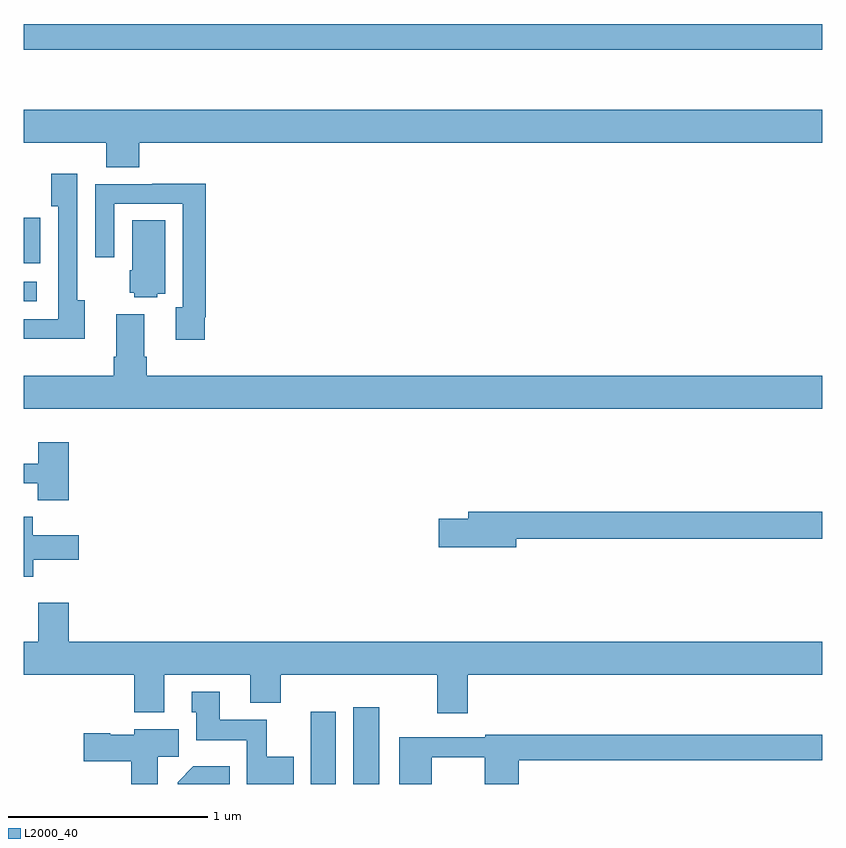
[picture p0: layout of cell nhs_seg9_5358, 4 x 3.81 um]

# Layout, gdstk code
import gdstk
lib = gdstk.Library(unit=1e-6, precision=1e-09)
def R(c, l, rs):  # rectangles x0, y0, x1, y1
    for r in rs: c.add(gdstk.rectangle(r[:2], r[2:], *l))
def P(c, l, *ps):  # polygons
    for p in ps: c.add(gdstk.Polygon(p, *l))
L2000_40 = (2000, 40)

nhs_seg9_5358 = lib.new_cell('nhs_seg9_5358')
R(nhs_seg9_5358, L2000_40, [(422.438,1234.5,422.563,1234.861), (422.651,1234.5,422.782,1234.885), (421,1236.918,421.066,1237.014), (421,1237.107,421.084,1237.335), (421,1238.178,425,1238.306)])
P(nhs_seg9_5358, L2000_40, [(421.58,1237.712),(425,1237.712),(425,1237.876),(421,1237.876),(421,1237.712),(421.415,1237.712),(421.415,1237.588),(421.58,1237.588)],
  [(421.306,1236.922),(421.269,1236.922),(421.269,1237.555),(421.139,1237.555),(421.139,1237.394),(421.173,1237.394),(421.173,1236.828),(421,1236.828),(421,1236.731),(421.306,1236.731)],
  [(421.906,1236.838),(421.913,1236.838),(421.913,1237.507),(421.643,1237.507),(421.643,1237.503),(421.359,1237.503),(421.359,1237.137),(421.455,1237.137),(421.455,1237.407),(421.797,1237.407),(421.797,1236.887),(421.763,1236.887),(421.763,1236.726),(421.906,1236.726)],
  [(421.668,1236.956),(421.708,1236.956),(421.708,1237.322),(421.544,1237.322),(421.544,1237.074),(421.532,1237.074),(421.532,1236.96),(421.554,1236.96),(421.554,1236.938),(421.668,1236.938)],
  [(425,1236.544),(421.616,1236.544),(421.616,1236.64),(421.603,1236.64),(421.603,1236.853),(421.463,1236.853),(421.463,1236.64),(421.451,1236.64),(421.451,1236.544),(421,1236.544),(421,1236.38),(425,1236.38)],
  [(421.226,1236.211),(421.073,1236.211),(421.073,1236.105),(421,1236.105),(421,1236.006),(421.071,1236.006),(421.071,1235.921),(421.226,1235.921)],
  [(423.466,1235.728),(425,1235.728),(425,1235.864),(423.227,1235.864),(423.227,1235.828),(423.078,1235.828),(423.078,1235.686),(423.466,1235.686)],
  [(421.048,1235.624),(421.276,1235.624),(421.276,1235.746),(421.046,1235.746),(421.046,1235.839),(421,1235.839),(421,1235.538),(421.048,1235.538)],
  [(423.224,1235.048),(425,1235.048),(425,1235.212),(421.226,1235.212),(421.226,1235.407),(421.073,1235.407),(421.073,1235.212),(421,1235.212),(421,1235.048),(421.553,1235.048),(421.553,1234.859),(421.705,1234.859),(421.705,1235.048),(422.135,1235.048),(422.135,1234.907),(422.288,1234.907),(422.288,1235.048),(423.071,1235.048),(423.071,1234.854),(423.224,1234.854)],
  [(422.353,1234.636),(422.217,1234.636),(422.217,1234.822),(421.981,1234.822),(421.981,1234.963),(421.841,1234.963),(421.841,1234.86),(421.865,1234.86),(421.865,1234.718),(422.118,1234.718),(422.118,1234.5),(422.353,1234.5)],
  [(421.672,1234.636),(421.777,1234.636),(421.777,1234.774),(421.554,1234.774),(421.554,1234.747),(421.434,1234.747),(421.434,1234.755),(421.302,1234.755),(421.302,1234.613),(421.538,1234.613),(421.538,1234.5),(421.672,1234.5)],
  [(423.044,1234.633),(423.308,1234.633),(423.308,1234.5),(423.479,1234.5),(423.479,1234.618),(425,1234.618),(425,1234.747),(423.312,1234.747),(423.312,1234.734),(422.882,1234.734),(422.882,1234.5),(423.044,1234.5)],
  [(422.033,1234.588),(421.85,1234.588),(421.772,1234.51),(421.772,1234.5),(422.033,1234.5)])

lib.write_gds('nhs_seg9_5358.gds')
